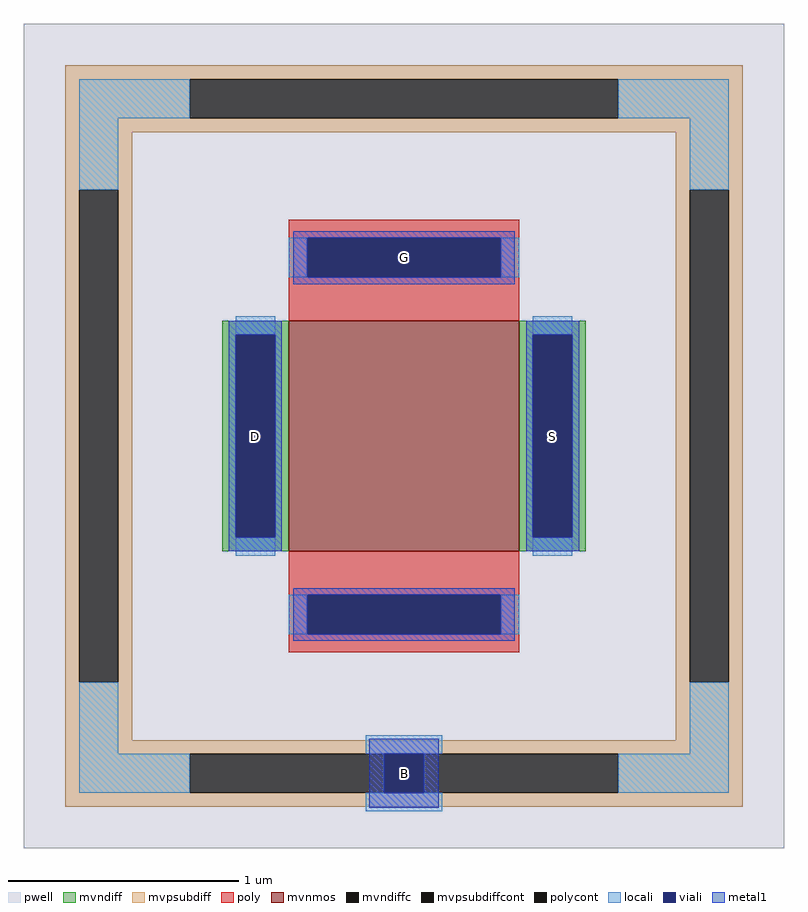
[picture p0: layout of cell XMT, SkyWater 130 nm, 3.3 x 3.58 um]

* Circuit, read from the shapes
.subckt XMT B D S G
XM1 S G D B sky130_fd_pr__nfet_g5v0d10v5 w=1 l=1
.ends

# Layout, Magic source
magic
tech sky130A
magscale 1 2
<< pwell >>
rect -330 -358 330 358
<< mvnmos >>
rect -100 -100 100 100
<< mvndiff >>
rect -158 88 -100 100
rect -158 -88 -146 88
rect -112 -88 -100 88
rect -158 -100 -100 -88
rect 100 88 158 100
rect 100 -88 112 88
rect 146 -88 158 88
rect 100 -100 158 -88
<< mvndiffc >>
rect -146 -88 -112 88
rect 112 -88 146 88
<< mvpsubdiff >>
rect -294 310 294 322
rect -294 276 -186 310
rect 186 276 294 310
rect -294 264 294 276
rect -294 214 -236 264
rect -294 -214 -282 214
rect -248 -214 -236 214
rect 236 214 294 264
rect -294 -264 -236 -214
rect 236 -214 248 214
rect 282 -214 294 214
rect 236 -264 294 -214
rect -294 -276 294 -264
rect -294 -310 -186 -276
rect 186 -310 294 -276
rect -294 -322 294 -310
<< mvpsubdiffcont >>
rect -186 276 186 310
rect -282 -214 -248 214
rect 248 -214 282 214
rect -186 -310 186 -276
<< poly >>
rect -100 172 100 188
rect -100 138 -84 172
rect 84 138 100 172
rect -100 100 100 138
rect -100 -138 100 -100
rect -100 -172 -84 -138
rect 84 -172 100 -138
rect -100 -188 100 -172
<< polycont >>
rect -84 138 84 172
rect -84 -172 84 -138
<< locali >>
rect -282 276 -186 310
rect 186 276 282 310
rect -282 214 -248 276
rect 248 214 282 276
rect -100 138 -84 172
rect 84 138 100 172
rect -146 88 -112 104
rect -146 -104 -112 -88
rect 112 88 146 104
rect 112 -104 146 -88
rect -100 -172 -84 -138
rect 84 -172 100 -138
rect -282 -276 -248 -214
rect -33 -276 33 -260
rect 248 -276 282 -214
rect -282 -310 -186 -276
rect 186 -310 282 -276
rect -33 -326 33 -310
<< viali >>
rect -84 138 84 172
rect -146 -88 -112 88
rect 112 -88 146 88
rect -84 -172 84 -138
rect -17 -310 17 -276
<< metal1 >>
rect -96 172 96 178
rect -96 138 -84 172
rect 84 138 96 172
rect -96 132 96 138
rect -152 88 -106 100
rect -152 -88 -146 88
rect -112 -88 -106 88
rect -152 -100 -106 -88
rect 106 88 152 100
rect 106 -88 112 88
rect 146 -88 152 88
rect 106 -100 152 -88
rect -96 -138 96 -132
rect -96 -172 -84 -138
rect 84 -172 96 -138
rect -96 -178 96 -172
rect -30 -276 30 -263
rect -30 -310 -17 -276
rect 17 -310 30 -276
rect -30 -323 30 -310
<< labels >>
rlabel mvpsubdiffcont 0 -293 0 -293 0 B
port 4 nsew
rlabel mvndiffc -129 0 -129 0 0 D
port 5 nsew
rlabel mvndiffc 129 0 129 0 0 S
port 6 nsew
rlabel polycont 0 155 0 155 0 G
port 7 nsew
<< properties >>
string FIXED_BBOX -265 -293 265 293
<< end >>
